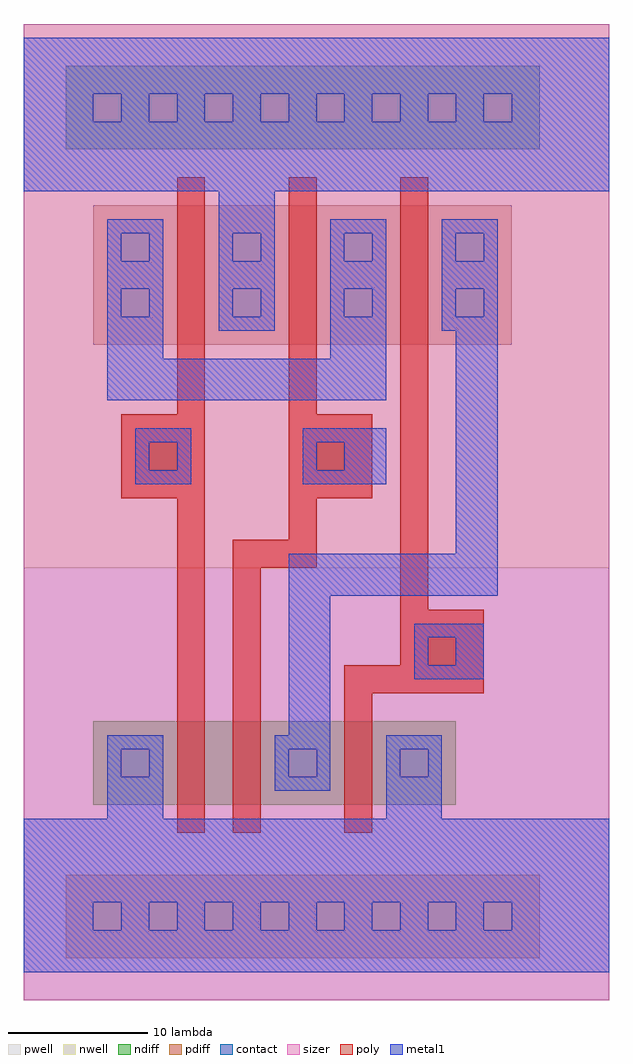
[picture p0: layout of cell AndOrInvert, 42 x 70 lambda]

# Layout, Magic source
magic
tech LibreSilicon-test000-concept-mg-70-7
<< sizer >>
rect 0 0 42 70
<< metal1 >>
rect 0 65 42 69
rect 0 63 5 65
rect 7 63 9 65
rect 11 63 13 65
rect 15 63 17 65
rect 19 63 21 65
rect 23 63 25 65
rect 27 63 29 65
rect 31 63 33 65
rect 35 63 42 65
rect 0 58 42 63
rect 14 55 18 58
rect 6 55 10 56
rect 22 55 26 56
rect 30 55 34 56
rect 6 53 7 55
rect 9 53 10 55
rect 14 53 15 55
rect 17 53 18 55
rect 22 53 23 55
rect 25 53 26 55
rect 30 53 31 55
rect 33 53 34 55
rect 6 51 10 53
rect 14 51 18 53
rect 22 51 26 53
rect 30 51 34 53
rect 6 49 7 51
rect 9 49 10 51
rect 14 49 15 51
rect 17 49 18 51
rect 22 49 23 51
rect 25 49 26 51
rect 30 49 31 51
rect 33 49 34 51
rect 6 46 10 49
rect 14 48 18 49
rect 22 46 26 49
rect 30 48 34 49
rect 31 32 34 48
rect 6 43 26 46
rect 8 40 12 41
rect 20 40 26 41
rect 8 38 9 40
rect 11 38 12 40
rect 20 38 21 40
rect 23 38 26 40
rect 8 37 12 38
rect 20 37 26 38
rect 19 29 34 32
rect 19 19 22 29
rect 28 26 33 27
rect 28 24 29 26
rect 31 24 33 26
rect 28 23 33 24
rect 6 18 10 19
rect 18 18 22 19
rect 26 18 30 19
rect 6 16 7 18
rect 9 16 10 18
rect 18 16 19 18
rect 21 16 22 18
rect 26 16 27 18
rect 29 16 30 18
rect 6 13 10 16
rect 18 15 22 16
rect 26 13 30 16
rect 0 7 42 13
rect 0 5 5 7
rect 7 5 9 7
rect 11 5 13 7
rect 15 5 17 7
rect 19 5 21 7
rect 23 5 25 7
rect 27 5 29 7
rect 31 5 33 7
rect 35 5 42 7
rect 0 2 42 5
<< contact >>
rect 5 63 7 65
rect 9 63 11 65
rect 13 63 15 65
rect 17 63 19 65
rect 21 63 23 65
rect 25 63 27 65
rect 29 63 31 65
rect 33 63 35 65
rect 7 53 9 55
rect 15 53 17 55
rect 23 53 25 55
rect 31 53 33 55
rect 7 49 9 51
rect 15 49 17 51
rect 23 49 25 51
rect 31 49 33 51
rect 9 38 11 40
rect 21 38 23 40
rect 29 24 31 26
rect 7 16 9 18
rect 19 16 21 18
rect 27 16 29 18
rect 5 5 7 7
rect 9 5 11 7
rect 13 5 15 7
rect 17 5 19 7
rect 21 5 23 7
rect 25 5 27 7
rect 29 5 31 7
rect 33 5 35 7
<< poly >>
rect 11 42 13 59
rect 19 42 21 59
rect 27 28 29 59
rect 7 36 13 42
rect 19 36 25 42
rect 11 12 13 36
rect 19 33 21 36
rect 15 31 21 33
rect 15 12 17 31
rect 27 24 33 28
rect 23 22 33 24
rect 23 12 25 22
<< ndiff >>
rect 3 61 37 67
rect 5 14 31 20
<< pdiff >>
rect 5 47 35 57
rect 3 3 37 9
<< nwell >>
rect 0 31 42 70
<< pwell >>
rect 0 0 42 31
<< end >>
